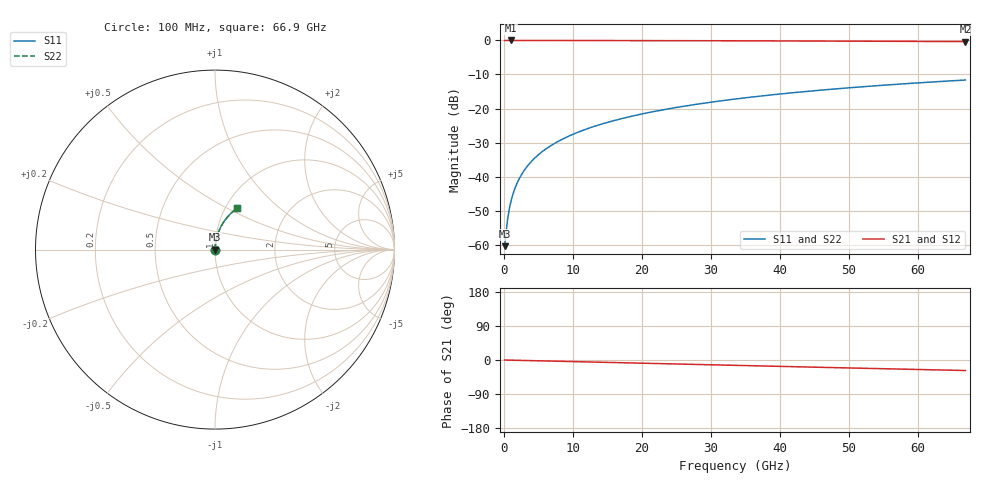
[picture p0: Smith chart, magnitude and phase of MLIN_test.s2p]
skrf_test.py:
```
import numpy as np  # for np.allclose() to check that S-params are similar
import os
import skrf as rf
import matplotlib.pyplot as plt

rf.stylely()
# reference LC circuit made in Designer
LC_designer = rf.Network(os.path.join("Files", "snp", "MLIN_test.s2p"), name ="snp")
# scikit-rf: manually connecting networks
line = rf.media.DefinedGammaZ0(frequency=LC_designer.frequency, z0=50)
LC_manual = line.inductor(24e-9) ** line.capacitor(70e-12)

# scikit-rf: using Circuit builder
port1 = rf.Circuit.Port(frequency=LC_designer.frequency, name='port1', z0=50)
port2 = rf.Circuit.Port(frequency=LC_designer.frequency, name='port2', z0=50)
cap1 = rf.Circuit.SeriesImpedance(frequency=LC_designer.frequency, name='cap1', z0=50,
                                 Z=1/(1j*LC_designer.frequency.w*70e-12))
cap2 = rf.Circuit.SeriesImpedance(frequency=LC_designer.frequency, name='cap2', z0=50,
                                 Z=1/(1j*LC_designer.frequency.w*10e-12))
ind = rf.Circuit.SeriesImpedance(frequency=LC_designer.frequency, name='ind', z0=50,
                                 Z=1j*LC_designer.frequency.w*24e-9)
res = rf.Circuit.SeriesImpedance(frequency=LC_designer.frequency, name='res', z0=50,
                                 Z=1000)
gnd = rf.Circuit.Ground(LC_designer.frequency, name='GND')

# NB: it is also possible to create 2-port lumped elements like:
# line = rf.media.DefinedGammaZ0(frequency=LC_designer.frequency, z0=50)
# cap = line.capacitor(70e-12, name='cap')
# ind = line.inductor(24e-9, name='ind')

connections = [
    [(port1, 0), (LC_designer, 0)],
    [(LC_designer, 1), (cap1, 0), (ind,0)],
    [(ind, 1), (cap2, 0)],
    [(cap2, 1), (res, 0)],
    [(res, 1), (cap1, 1), (gnd, 0)]
]
circuit = rf.Circuit(connections)
LC_from_circuit = circuit.network

print(np.allclose(LC_designer.s, LC_manual.s))
print(np.allclose(LC_designer.s, LC_from_circuit.s))
circuit.plot_graph(network_labels=True, edge_labels=True, port_labels=True)
plt.show()
LC_from_circuit.plot_s_db()
LC_from_circuit.write_touchstone("skrf_test", form="db")
plt.show()
```
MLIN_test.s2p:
! Created with skrf (http://scikit-rf.org).
# Hz S RI R 50.0
!freq ReS11 ImS11 ReS21 ImS21 ReS12 ImS12 ReS22 ImS22
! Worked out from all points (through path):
!   669 points, 100 MHz to 66.9 GHz, reference 50 ohm
!   highest |S21| = -0.01 dB at 1 GHz (marker M1); lowest = -0.3 dB at 66.9 GHz (marker M2)
!   group delay of S21, straight-line fit = 1.16 ps
!   lowest |S11| = -60.4 dB at 100 MHz (marker M3), VSWR 1.00, Z = 50.1 + j0.0419 ohm
!   |S11| at or under -10 dB: start of sweep to end of sweep
!   |S22| runs from -60.4 to -11.6 dB; largest |S21 - S12| = 7.4e-14
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1e8  0.000856 0.000418  0.9991 -0.000743  0.9991 -0.000743  0.000856 0.000418
7e8  0.000725 0.00293  0.9993 -0.0052  0.9993 -0.0052  0.000725 0.00293
1e9  0.00071 0.00419  0.9993 -0.00743  0.9993 -0.00743  0.00071 0.00419
1.5e9  0.00078 0.00628  0.9992 -0.0111  0.9992 -0.0111  0.00078 0.00628
2.1e9  0.000885 0.00879  0.9991 -0.0156  0.9991 -0.0156  0.000885 0.00879
3.7e9  0.00127 0.0155  0.9986 -0.0275  0.9986 -0.0275  0.00127 0.0155
6.1e9  0.00217 0.0255  0.9976 -0.0453  0.9976 -0.0453  0.00217 0.0255
9.3e9  0.00393 0.0387  0.9955 -0.0689  0.9955 -0.0689  0.00393 0.0387
1.89e10  0.0127 0.0777  0.9852 -0.139  0.9852 -0.139  0.0127 0.0777
3.35e10  0.0359 0.1331  0.9578 -0.2418  0.9578 -0.2418  0.0359 0.1331
6.69e10  0.1249 0.2305  0.8505 -0.448  0.8505 -0.448  0.1249 0.2305
